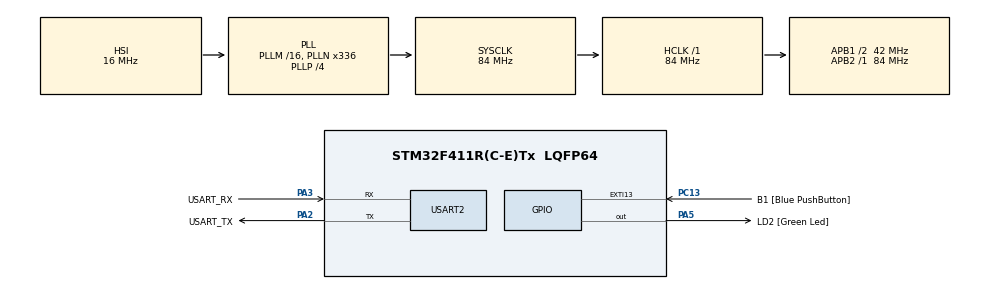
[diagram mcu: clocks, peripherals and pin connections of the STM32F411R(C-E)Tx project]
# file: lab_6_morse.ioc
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Mcu.Family=STM32F4
Mcu.Name=STM32F411R(C-E)Tx
Mcu.Package=LQFP64
NVIC.EXTI15_10_IRQn=true\:1\:0\:true\:false\:true\:true\:true\:true
NVIC.PriorityGroup=NVIC_PRIORITYGROUP_1
PA13.GPIO_Label=TMS
PA13.Mode=Serial_Wire
PA13.Signal=SYS_JTMS-SWDIO
PA14.GPIO_Label=TCK
PA14.Mode=Serial_Wire
PA14.Signal=SYS_JTCK-SWCLK
PA2.GPIO_Label=USART_TX
PA2.Mode=Asynchronous
PA2.Signal=USART2_TX
PA3.GPIO_Label=USART_RX
PA3.Mode=Asynchronous
PA3.Signal=USART2_RX
PA5.GPIO_Label=LD2 [Green Led]
PA5.Signal=GPIO_Output
PB3.GPIO_Label=SWO
PB3.Signal=SYS_JTDO-SWO
PC13-ANTI_TAMP.GPIO_Label=B1 [Blue PushButton]
PC13-ANTI_TAMP.GPIO_ModeDefaultEXTI=GPIO_MODE_IT_FALLING
PC13-ANTI_TAMP.Signal=GPXTI13
PC14-OSC32_IN.Mode=LSE-External-Oscillator
PC14-OSC32_IN.Signal=RCC_OSC32_IN
PC15-OSC32_OUT.Mode=LSE-External-Oscillator
PC15-OSC32_OUT.Signal=RCC_OSC32_OUT
PH0\ -\ OSC_IN.Mode=HSE-External-Clock-Source
PH0\ -\ OSC_IN.Signal=RCC_OSC_IN
PH1\ -\ OSC_OUT.Mode=HSE-External-Clock-Source
PH1\ -\ OSC_OUT.Signal=RCC_OSC_OUT
ProjectManager.HeapSize=0x200
ProjectManager.StackSize=0x400
ProjectManager.TargetToolchain=STM32CubeIDE
RCC.48MHZClocksFreq_Value=84000000
RCC.AHBFreq_Value=84000000
RCC.APB1CLKDivider=RCC_HCLK_DIV2
RCC.APB1Freq_Value=42000000
RCC.APB1TimFreq_Value=84000000
RCC.APB2Freq_Value=84000000
RCC.APB2TimFreq_Value=84000000
RCC.CortexFreq_Value=84000000
RCC.FLatency-AdvancedSettings=FLASH_LATENCY_2
RCC.HCLKFreq_Value=84000000
RCC.HSE_VALUE=8000000
RCC.HSI_VALUE=16000000
RCC.PLLN=336
RCC.PLLP=RCC_PLLP_DIV4
RCC.SYSCLKFreq_VALUE=84000000
RCC.SYSCLKSource=RCC_SYSCLKSOURCE_PLLCLK
RCC.VCOOutputFreq_Value=336000000
USART2.VirtualMode=VM_ASYNC
board=NUCLEO-F411RE

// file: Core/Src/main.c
/* USER CODE BEGIN Header */
/**
  ******************************************************************************
  * @file           : main.c
  * @brief          : Main program body
  ******************************************************************************
  * @attention
  *
  * Copyright (c) 2024 STMicroelectronics.
  * All rights reserved.
  *
  * This software is licensed under terms that can be found in the LICENSE file
  * in the root directory of this software component.
  * If no LICENSE file comes with this software, it is provided AS-IS.
  *
  ******************************************************************************
  */
/* USER CODE END Header */
#include "main.h"

UART_HandleTypeDef huart2;

void SystemClock_Config(void);
static void MX_GPIO_Init(void);
static void MX_USART2_UART_Init(void);

/* USER CODE BEGIN 0 */

int reset = 0;

/* USER CODE END 0 */

int main(void)
{

  /* MCU Configuration--------------------------------------------------------*/

  /* Reset of all peripherals, Initializes the Flash interface and the Systick. */
  HAL_Init();

  /* Configure the system clock */
  SystemClock_Config();

  /* Initialize all configured peripherals */
  MX_GPIO_Init();
  MX_USART2_UART_Init();

  /* Infinite loop */
  while (1)
  {

    /* USER CODE BEGIN 3 */
	reset = 0;

	sos();

  }
  /* USER CODE END 3 */
}

void SystemClock_Config(void)
{
  RCC_OscInitTypeDef RCC_OscInitStruct = {0};
  RCC_ClkInitTypeDef RCC_ClkInitStruct = {0};

  /** Configure the main internal regulator output voltage
  */
  __HAL_RCC_PWR_CLK_ENABLE();
  __HAL_PWR_VOLTAGESCALING_CONFIG(PWR_REGULATOR_VOLTAGE_SCALE1);

  /** Initializes the RCC Oscillators according to the specified parameters
  * in the RCC_OscInitTypeDef structure.
  */
  RCC_OscInitStruct.OscillatorType = RCC_OSCILLATORTYPE_HSI;
  RCC_OscInitStruct.HSIState = RCC_HSI_ON;
  RCC_OscInitStruct.HSICalibrationValue = RCC_HSICALIBRATION_DEFAULT;
  RCC_OscInitStruct.PLL.PLLState = RCC_PLL_ON;
  RCC_OscInitStruct.PLL.PLLSource = RCC_PLLSOURCE_HSI;
  RCC_OscInitStruct.PLL.PLLM = 16;
  RCC_OscInitStruct.PLL.PLLN = 336;
  RCC_OscInitStruct.PLL.PLLP = RCC_PLLP_DIV4;
  RCC_OscInitStruct.PLL.PLLQ = 4;
  if (HAL_RCC_OscConfig(&RCC_OscInitStruct) != HAL_OK)
  {
    Error_Handler();
  }

  /** Initializes the CPU, AHB and APB buses clocks
  */
  RCC_ClkInitStruct.ClockType = RCC_CLOCKTYPE_HCLK|RCC_CLOCKTYPE_SYSCLK
                              |RCC_CLOCKTYPE_PCLK1|RCC_CLOCKTYPE_PCLK2;
  RCC_ClkInitStruct.SYSCLKSource = RCC_SYSCLKSOURCE_PLLCLK;
  RCC_ClkInitStruct.AHBCLKDivider = RCC_SYSCLK_DIV1;
  RCC_ClkInitStruct.APB1CLKDivider = RCC_HCLK_DIV2;
  RCC_ClkInitStruct.APB2CLKDivider = RCC_HCLK_DIV1;

  if (HAL_RCC_ClockConfig(&RCC_ClkInitStruct, FLASH_LATENCY_2) != HAL_OK)
  {
    Error_Handler();
  }
}

static void MX_USART2_UART_Init(void)
{

  huart2.Instance = USART2;
  huart2.Init.BaudRate = 115200;
  huart2.Init.WordLength = UART_WORDLENGTH_8B;
  huart2.Init.StopBits = UART_STOPBITS_1;
  huart2.Init.Parity = UART_PARITY_NONE;
  huart2.Init.Mode = UART_MODE_TX_RX;
  huart2.Init.HwFlowCtl = UART_HWCONTROL_NONE;
  huart2.Init.OverSampling = UART_OVERSAMPLING_16;
  if (HAL_UART_Init(&huart2) != HAL_OK)
  {
    Error_Handler();
  }

}

static void MX_GPIO_Init(void)
{
  GPIO_InitTypeDef GPIO_InitStruct = {0};

  /* GPIO Ports Clock Enable */
  __HAL_RCC_GPIOC_CLK_ENABLE();
  __HAL_RCC_GPIOH_CLK_ENABLE();
  __HAL_RCC_GPIOA_CLK_ENABLE();
  __HAL_RCC_GPIOB_CLK_ENABLE();

  /*Configure GPIO pin Output Level */
  HAL_GPIO_WritePin(LD2_GPIO_Port, LD2_Pin, GPIO_PIN_RESET);

  /*Configure GPIO pin : B1_Pin */
  GPIO_InitStruct.Pin = B1_Pin;
  GPIO_InitStruct.Mode = GPIO_MODE_IT_FALLING;
  GPIO_InitStruct.Pull = GPIO_NOPULL;
  HAL_GPIO_Init(B1_GPIO_Port, &GPIO_InitStruct);

  /*Configure GPIO pin : LD2_Pin */
  GPIO_InitStruct.Pin = LD2_Pin;
  GPIO_InitStruct.Mode = GPIO_MODE_OUTPUT_PP;
  GPIO_InitStruct.Pull = GPIO_NOPULL;
  GPIO_InitStruct.Speed = GPIO_SPEED_FREQ_LOW;
  HAL_GPIO_Init(LD2_GPIO_Port, &GPIO_InitStruct);

  /* EXTI interrupt init*/
  HAL_NVIC_SetPriority(EXTI15_10_IRQn, 1, 0);
  HAL_NVIC_EnableIRQ(EXTI15_10_IRQn);

}

/* USER CODE BEGIN 4 */

void sos(void) {

	//	S
	HAL_GPIO_TogglePin(LD2_GPIO_Port, LD2_Pin);
	HAL_Delay(300);
	HAL_GPIO_WritePin(LD2_GPIO_Port, LD2_Pin, GPIO_PIN_RESET);
	if (reset) return;

	HAL_Delay(300);

	HAL_GPIO_TogglePin(LD2_GPIO_Port, LD2_Pin);
	HAL_Delay(300);
	HAL_GPIO_WritePin(LD2_GPIO_Port, LD2_Pin, GPIO_PIN_RESET);
	if (reset) return;

	HAL_Delay(300);

	HAL_GPIO_TogglePin(LD2_GPIO_Port, LD2_Pin);
	HAL_Delay(300);
	HAL_GPIO_WritePin(LD2_GPIO_Port, LD2_Pin, GPIO_PIN_RESET);
	if (reset) return;

	HAL_Delay(900);

	// O
	HAL_GPIO_TogglePin(LD2_GPIO_Port, LD2_Pin);
	HAL_Delay(900);
	HAL_GPIO_WritePin(LD2_GPIO_Port, LD2_Pin, GPIO_PIN_RESET);
	if (reset) return;

	HAL_Delay(300);

	HAL_GPIO_TogglePin(LD2_GPIO_Port, LD2_Pin);
	HAL_Delay(900);
	HAL_GPIO_WritePin(LD2_GPIO_Port, LD2_Pin, GPIO_PIN_RESET);
	if (reset) return;

	HAL_Delay(300);

	HAL_GPIO_TogglePin(LD2_GPIO_Port, LD2_Pin);
	HAL_Delay(900);
	HAL_GPIO_WritePin(LD2_GPIO_Port, LD2_Pin, GPIO_PIN_RESET);
	if (reset) return;

	HAL_Delay(900);

	//	S
	HAL_GPIO_TogglePin(LD2_GPIO_Port, LD2_Pin);
	HAL_Delay(300);
	HAL_GPIO_WritePin(LD2_GPIO_Port, LD2_Pin, GPIO_PIN_RESET);
	if (reset) return;

	HAL_Delay(300);

	HAL_GPIO_TogglePin(LD2_GPIO_Port, LD2_Pin);
	HAL_Delay(300);
	HAL_GPIO_WritePin(LD2_GPIO_Port, LD2_Pin, GPIO_PIN_RESET);
	if (reset) return;

	HAL_Delay(300);

	HAL_GPIO_TogglePin(LD2_GPIO_Port, LD2_Pin);
	HAL_Delay(300);
	HAL_GPIO_WritePin(LD2_GPIO_Port, LD2_Pin, GPIO_PIN_RESET);

	HAL_Delay(3000);
	return;
}

void HAL_GPIO_EXTI_Callback(uint16_t GPIO_Pin)
{
	HAL_GPIO_WritePin(LD2_GPIO_Port, LD2_Pin, GPIO_PIN_RESET);

	reset = 1;
	HAL_Delay(3000);
}

/* USER CODE END 4 */

void Error_Handler(void)
{
  __disable_irq();
  while (1)
  {
  }
}
